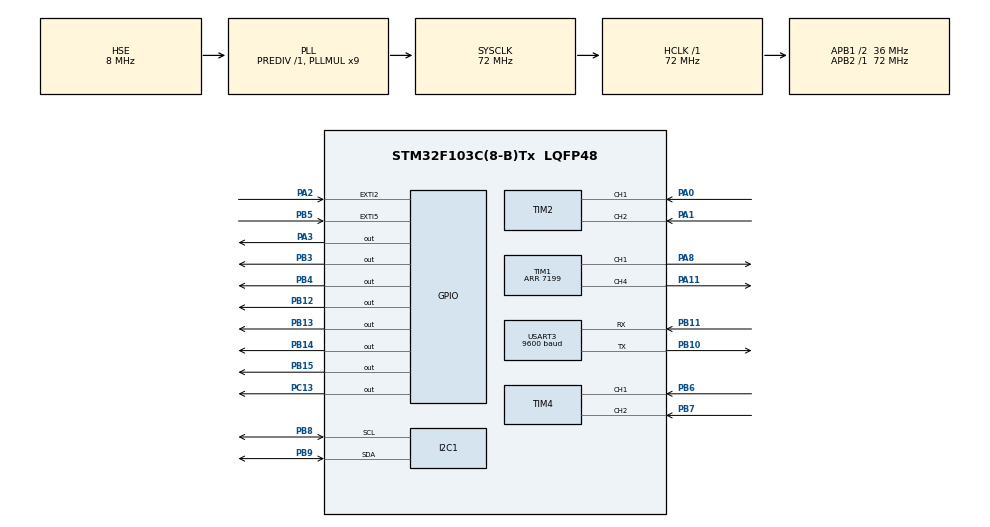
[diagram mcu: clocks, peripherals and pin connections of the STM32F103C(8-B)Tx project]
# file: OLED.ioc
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Dma.Request0=USART3_RX
Dma.Request1=USART3_TX
Dma.USART3_RX.0.Direction=DMA_PERIPH_TO_MEMORY
Dma.USART3_RX.0.Instance=DMA1_Channel3
Dma.USART3_RX.0.MemDataAlignment=DMA_MDATAALIGN_BYTE
Dma.USART3_RX.0.MemInc=DMA_MINC_ENABLE
Dma.USART3_RX.0.Mode=DMA_NORMAL
Dma.USART3_RX.0.PeriphDataAlignment=DMA_PDATAALIGN_BYTE
Dma.USART3_RX.0.PeriphInc=DMA_PINC_DISABLE
Dma.USART3_RX.0.Priority=DMA_PRIORITY_LOW
Dma.USART3_TX.1.Direction=DMA_MEMORY_TO_PERIPH
Dma.USART3_TX.1.Instance=DMA1_Channel2
Dma.USART3_TX.1.MemDataAlignment=DMA_MDATAALIGN_BYTE
Dma.USART3_TX.1.MemInc=DMA_MINC_ENABLE
Dma.USART3_TX.1.Mode=DMA_NORMAL
Dma.USART3_TX.1.PeriphDataAlignment=DMA_PDATAALIGN_BYTE
Dma.USART3_TX.1.PeriphInc=DMA_PINC_DISABLE
Dma.USART3_TX.1.Priority=DMA_PRIORITY_LOW
Mcu.Family=STM32F1
Mcu.Name=STM32F103C(8-B)Tx
Mcu.Package=LQFP48
NVIC.DMA1_Channel2_IRQn=true\:0\:0\:false\:false\:true\:false\:true\:true
NVIC.DMA1_Channel3_IRQn=true\:0\:0\:false\:false\:true\:false\:true\:true
NVIC.EXTI2_IRQn=true\:0\:0\:false\:false\:true\:true\:true\:true
NVIC.EXTI9_5_IRQn=true\:0\:0\:false\:false\:true\:true\:true\:true
NVIC.PriorityGroup=NVIC_PRIORITYGROUP_4
NVIC.USART3_IRQn=true\:0\:0\:false\:false\:true\:true\:true\:true
PA0-WKUP.Signal=S_TIM2_CH1_ETR
PA1.Signal=S_TIM2_CH2
PA11.Signal=S_TIM1_CH4
PA13.Mode=Serial_Wire
PA13.Signal=SYS_JTMS-SWDIO
PA14.Mode=Serial_Wire
PA14.Signal=SYS_JTCK-SWCLK
PA2.GPIO_ModeDefaultEXTI=GPIO_MODE_IT_RISING_FALLING
PA2.Signal=GPXTI2
PA3.GPIO_Speed=GPIO_SPEED_FREQ_HIGH
PA3.PinState=GPIO_PIN_RESET
PA3.Signal=GPIO_Output
PA8.Signal=S_TIM1_CH1
PB10.Mode=Asynchronous
PB10.Signal=USART3_TX
PB11.Mode=Asynchronous
PB11.Signal=USART3_RX
PB12.Signal=GPIO_Output
PB13.Signal=GPIO_Output
PB14.Signal=GPIO_Output
PB15.Signal=GPIO_Output
PB3.GPIO_ModeDefaultOutputPP=GPIO_MODE_OUTPUT_PP
PB3.GPIO_PuPd=GPIO_NOPULL
PB3.PinState=GPIO_PIN_SET
PB3.Signal=GPIO_Output
PB4.GPIO_ModeDefaultOutputPP=GPIO_MODE_OUTPUT_PP
PB4.GPIO_PuPd=GPIO_NOPULL
PB4.PinState=GPIO_PIN_SET
PB4.Signal=GPIO_Output
PB5.GPIO_ModeDefaultEXTI=GPIO_MODE_IT_FALLING
PB5.GPIO_PuPd=GPIO_PULLUP
PB5.Signal=GPXTI5
PB6.Signal=S_TIM4_CH1
PB7.Signal=S_TIM4_CH2
PB8.Mode=I2C
PB8.Signal=I2C1_SCL
PB9.Mode=I2C
PB9.Signal=I2C1_SDA
PC13-TAMPER-RTC.Signal=GPIO_Output
PD0-OSC_IN.Mode=HSE-External-Oscillator
PD0-OSC_IN.Signal=RCC_OSC_IN
PD1-OSC_OUT.Mode=HSE-External-Oscillator
PD1-OSC_OUT.Signal=RCC_OSC_OUT
ProjectManager.HeapSize=0x200
ProjectManager.StackSize=0x400
ProjectManager.TargetToolchain=CMake
RCC.AHBFreq_Value=72000000
RCC.APB1CLKDivider=RCC_HCLK_DIV2
RCC.APB1Freq_Value=36000000
RCC.APB1TimFreq_Value=72000000
RCC.APB2Freq_Value=72000000
RCC.APB2TimFreq_Value=72000000
RCC.HCLKFreq_Value=72000000
RCC.PLLMUL=RCC_PLL_MUL9
RCC.PLLSourceVirtual=RCC_PLLSOURCE_HSE
RCC.SYSCLKFreq_VALUE=72000000
RCC.SYSCLKSource=RCC_SYSCLKSOURCE_PLLCLK
RCC.USBFreq_Value=72000000
SH.S_TIM1_CH1.0=TIM1_CH1,PWM Generation1 CH1
SH.S_TIM1_CH4.0=TIM1_CH4,PWM Generation4 CH4
SH.S_TIM2_CH1_ETR.0=TIM2_CH1,Encoder_Interface
SH.S_TIM2_CH2.0=TIM2_CH2,Encoder_Interface
SH.S_TIM4_CH1.0=TIM4_CH1,Encoder_Interface
SH.S_TIM4_CH2.0=TIM4_CH2,Encoder_Interface
TIM1.Channel-PWM\ Generation1\ CH1=TIM_CHANNEL_1
TIM1.Channel-PWM\ Generation4\ CH4=TIM_CHANNEL_4
TIM1.Period=7199
TIM1.Pulse-PWM\ Generation1\ CH1=7200
TIM1.Pulse-PWM\ Generation4\ CH4=7200
TIM2.EncoderMode=TIM_ENCODERMODE_TI12
TIM3.Prescaler=71
TIM4.EncoderMode=TIM_ENCODERMODE_TI12
USART3.BaudRate=9600
USART3.VirtualMode=VM_ASYNC
VP_TIM3_VS_ClockSourceINT.Mode=Internal
board=custom

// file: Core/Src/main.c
/* USER CODE BEGIN Header */
/**
  ******************************************************************************
  * @file           : main.c
  * @brief          : Main program body
  ******************************************************************************
  * @attention
  *
  * Copyright (c) 2026 STMicroelectronics.
  * All rights reserved.
  *
  * This software is licensed under terms that can be found in the LICENSE file
  * in the root directory of this software component.
  * If no LICENSE file comes with this software, it is provided AS-IS.
  *
  ******************************************************************************
  */
/* USER CODE END Header */
#include "main.h"
#include "dma.h"
#include "i2c.h"
#include "tim.h"
#include "usart.h"
#include "gpio.h"

/* USER CODE BEGIN Includes */
#include "oled.h"
#include "motor.h"
#include "encoder.h"
#include "PID.h"
#include "IIC.h"
#include "inv_mpu.h"
#include "inv_mpu_dmp_motion_driver.h"
#include "mpu6050.h"
#include "sr04.h"
#include "stdio.h"
#include "serial_plot.h"
#include "ai.h"
#include "bluetooth.h"
/* USER CODE END Includes */

/* USER CODE BEGIN PV */
extern float roll;
extern  float pitch;
extern float  yaw;
extern short  gyrox;
extern int Encoder_Left,Encoder_Right;
extern  float distance;

uint8_t display_buf[20];
uint32_t sys_tick;
extern int vertical_out;
extern int velocity_out;
extern int MOTO1;

extern uint8_t rx_buf[2];

//////////////////////////////////////////////////

/* USER CODE END PV */

void SystemClock_Config(void);
/* USER CODE BEGIN PFP */
void Read(void);
/* USER CODE END PFP */

int main(void)
{

  /* MCU Configuration--------------------------------------------------------*/

  /* Reset of all peripherals, Initializes the Flash interface and the Systick. */
  HAL_Init();

  /* Configure the system clock */
  SystemClock_Config();

  /* Initialize all configured peripherals */
  MX_GPIO_Init();
  MX_DMA_Init();
  MX_I2C1_Init();
  MX_TIM1_Init();
  MX_TIM2_Init();
  MX_TIM4_Init();
  MX_TIM3_Init();
  MX_USART3_UART_Init();
  /* USER CODE BEGIN 2 */

  // ↓↓↓释放PB3/PB4 ↓↓↓
  __HAL_RCC_AFIO_CLK_ENABLE();          // 开启AFIO时钟
  __HAL_AFIO_REMAP_SWJ_NOJTAG();        // 关闭JTAG，释放PB3/PB4
  HAL_Delay(20);                        // 给引脚稳定时间

  OLED_Init();
  OLED_Clear();

  MPU_Init();
  mpu_dmp_init();

  //OLED_ShowString(0,00,(uint8_t*)"Init Sucess",16);

  //////////////////////////////////////

   HAL_NVIC_SetPriority(EXTI9_5_IRQn, 0, 0);
   HAL_NVIC_EnableIRQ(EXTI9_5_IRQn);
  ////////////////////////////
  ///
  HAL_TIM_PWM_Start(&htim1,TIM_CHANNEL_1);
  HAL_TIM_PWM_Start(&htim1,TIM_CHANNEL_4);
  HAL_TIM_Encoder_Start(&htim2,TIM_CHANNEL_ALL);
  HAL_TIM_Encoder_Start(&htim4,TIM_CHANNEL_ALL);
  HAL_UART_Receive_IT(&huart3,rx_buf,1);
  Load(0,0);
////
OLED_Clear();
  // AI_UART_Init();
  /* USER CODE END 2 */

  /* Infinite loop */
  /* USER CODE BEGIN WHILE */
  while (1)
  {

    //HAL_GPIO_WritePin(GPIOC, GPIO_PIN_13, GPIO_PIN_RESET);
    // HAL_Delay(500);
   // HAL_GPIO_WritePin(GPIOC, GPIO_PIN_13, GPIO_PIN_SET);
    //HAL_Delay(500);

    //HAL_UART_Transmit(&huart3,(uint8_t*)"Hello World!\r\n",12,HAL_MAX_DELAY);
    // //////////////chao sheng bo

    // GET_Distance();
    // sprintf((char *) display_buf, "distance:%.2f   ", distance);
    // OLED_ShowString(0, 4, display_buf, 16);
    // ////////////////////////////////////////////////////////////////////////

    ////////////Encoder_Value
     // Read();
     // sprintf((char*)display_buf,"Encoder_L:%d   ",Encoder_Left);
     // OLED_ShowString(0,4,display_buf,16);
     // sprintf((char*)display_buf,"Encoder_R:%d   ",Encoder_Right);
     // OLED_ShowString(0,6,display_buf,16);

    // sprintf((char*)display_buf,"test:%.2f",test_num);
    // OLED_ShowString(0,2,display_buf,16); // 显示在第8行，不影响原有内容
    // HAL_Delay(2000); // 停留2秒看结果

/////////////////////陀螺仪
    // HAL_Delay(10);
    // mpu_dmp_get_data(&pitch,&roll,&yaw);
    //
    // sprintf((char*)display_buf,"pitch:%.2f   ",pitch);
    // OLED_ShowString(0,2,display_buf,16);
    //
    // sprintf((char*)display_buf,"roll:%.2f     ",roll);
    // OLED_ShowString(0,4,display_buf,16);
    //
    // sprintf((char*)display_buf,"yaw:%.2f      ",yaw);
    // OLED_ShowString(0,6,display_buf,16);

    // ////////////////////////////////////////////
    // ///声波加编码器

       Read();
      sprintf((char *)display_buf,"Encoder_L:%d     ",Encoder_Left);
      OLED_ShowString(0,0,display_buf,16);
      sprintf((char *)display_buf,"Encoder_R:%d     ",Encoder_Right);
      OLED_ShowString(0,2,display_buf,16);
      sprintf((char *)display_buf,"roll:%.2f     ",roll);
      OLED_ShowString(0,4,display_buf,16);
       GET_Distance();
       sprintf((char *)display_buf,"distance:%.1f  ",distance);
      OLED_ShowString(0,6,display_buf,12);

   // SerialPlot_SendWave(roll, Vertical_out, MOTO1);//波形图

    /* USER CODE END WHILE */

  }
}

void SystemClock_Config(void)
{
  RCC_OscInitTypeDef RCC_OscInitStruct = {0};
  RCC_ClkInitTypeDef RCC_ClkInitStruct = {0};

  /** Initializes the RCC Oscillators according to the specified parameters
  * in the RCC_OscInitTypeDef structure.
  */
  RCC_OscInitStruct.OscillatorType = RCC_OSCILLATORTYPE_HSE;
  RCC_OscInitStruct.HSEState = RCC_HSE_ON;
  RCC_OscInitStruct.HSEPredivValue = RCC_HSE_PREDIV_DIV1;
  RCC_OscInitStruct.HSIState = RCC_HSI_ON;
  RCC_OscInitStruct.PLL.PLLState = RCC_PLL_ON;
  RCC_OscInitStruct.PLL.PLLSource = RCC_PLLSOURCE_HSE;
  RCC_OscInitStruct.PLL.PLLMUL = RCC_PLL_MUL9;
  if (HAL_RCC_OscConfig(&RCC_OscInitStruct) != HAL_OK)
  {
    Error_Handler();
  }

  /** Initializes the CPU, AHB and APB buses clocks
  */
  RCC_ClkInitStruct.ClockType = RCC_CLOCKTYPE_HCLK|RCC_CLOCKTYPE_SYSCLK
                              |RCC_CLOCKTYPE_PCLK1|RCC_CLOCKTYPE_PCLK2;
  RCC_ClkInitStruct.SYSCLKSource = RCC_SYSCLKSOURCE_PLLCLK;
  RCC_ClkInitStruct.AHBCLKDivider = RCC_SYSCLK_DIV1;
  RCC_ClkInitStruct.APB1CLKDivider = RCC_HCLK_DIV2;
  RCC_ClkInitStruct.APB2CLKDivider = RCC_HCLK_DIV1;

  if (HAL_RCC_ClockConfig(&RCC_ClkInitStruct, FLASH_LATENCY_2) != HAL_OK)
  {
    Error_Handler();
  }
}

/* USER CODE BEGIN 4 */

////////
//du qu dian ji sudu
void Read(void)
{
  if(uwTick-sys_tick<10)
    return;
  sys_tick=uwTick;
  Encoder_Left=Read_Speed(&htim2);
  Encoder_Right=-Read_Speed(&htim4);//-是方向相反
}
/* USER CODE END 4 */

void Error_Handler(void)
{
  __disable_irq();
  while (1)
  {
  }
}
